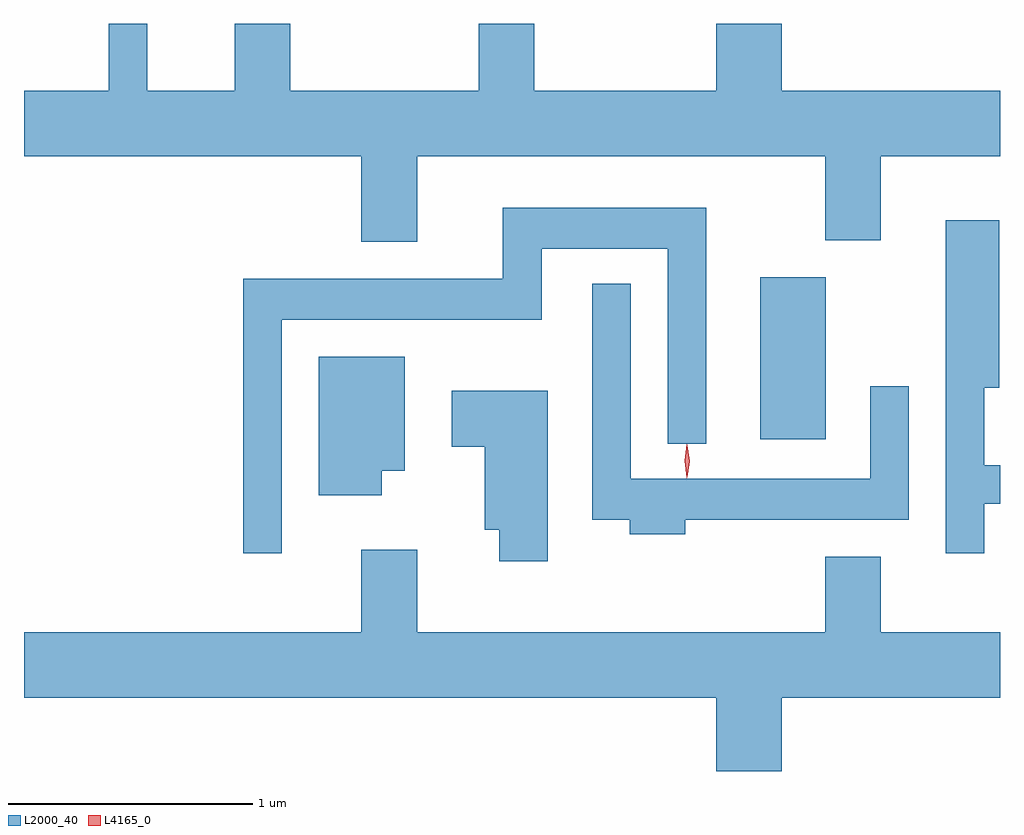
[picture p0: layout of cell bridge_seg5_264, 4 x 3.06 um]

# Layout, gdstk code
import gdstk
lib = gdstk.Library(unit=1e-6, precision=1e-09)
def R(c, l, rs):  # rectangles x0, y0, x1, y1
    for r in rs: c.add(gdstk.rectangle(r[:2], r[2:], *l))
def P(c, l, *ps):  # polygons
    for p in ps: c.add(gdstk.Polygon(p, *l))
L2000_40 = (2000, 40)
L4165_0 = (4165, 0)

bridge_seg5_264 = lib.new_cell('bridge_seg5_264')
R(bridge_seg5_264, L2000_40, [(674.796,1504.476,675.064,1505.139)])
P(bridge_seg5_264, L2000_40, [(672.869,1506.178),(672.641,1506.178),(672.641,1505.904),(672.284,1505.904),(672.284,1506.178),(672.126,1506.178),(672.126,1505.904),(671.778,1505.904),(671.778,1505.636),(673.161,1505.636),(673.161,1505.286),(673.389,1505.286),(673.389,1505.636),(675.061,1505.636),(675.061,1505.291),(675.289,1505.291),(675.289,1505.636),(675.778,1505.636),(675.778,1505.904),(674.884,1505.904),(674.884,1506.178),(674.616,1506.178),(674.616,1505.904),(673.869,1505.904),(673.869,1506.178),(673.641,1506.178),(673.641,1505.904),(672.869,1505.904)],
  [(672.834,1504.966),(673.899,1504.966),(673.899,1505.256),(674.416,1505.256),(674.416,1504.458),(674.574,1504.458),(674.574,1505.424),(673.741,1505.424),(673.741,1505.134),(672.676,1505.134),(672.676,1504.008),(672.834,1504.008)],
  [(675.714,1504.211),(675.778,1504.211),(675.778,1504.369),(675.714,1504.369),(675.714,1504.686),(675.774,1504.686),(675.774,1505.374),(675.556,1505.374),(675.556,1504.008),(675.714,1504.008)],
  [(674.489,1504.146),(675.404,1504.146),(675.404,1504.693),(675.246,1504.693),(675.246,1504.314),(674.264,1504.314),(674.264,1505.113),(674.106,1505.113),(674.106,1504.146),(674.261,1504.146),(674.261,1504.086),(674.489,1504.086)],
  [(673.244,1504.346),(673.339,1504.346),(673.339,1504.814),(672.986,1504.814),(672.986,1504.246),(673.244,1504.246)],
  [(673.924,1504.674),(673.531,1504.674),(673.531,1504.446),(673.666,1504.446),(673.666,1504.106),(673.726,1504.106),(673.726,1503.976),(673.924,1503.976)],
  [(674.884,1503.416),(675.778,1503.416),(675.778,1503.684),(675.289,1503.684),(675.289,1503.994),(675.061,1503.994),(675.061,1503.684),(673.389,1503.684),(673.389,1504.024),(673.161,1504.024),(673.161,1503.684),(671.778,1503.684),(671.778,1503.416),(674.616,1503.416),(674.616,1503.116),(674.884,1503.116)])
P(bridge_seg5_264, L4165_0, [(674.495,1504.32),(674.486,1504.386),(674.495,1504.452),(674.496,1504.453),(674.496,1504.452),(674.506,1504.386),(674.496,1504.32),(674.496,1504.32)],
  [(674.495,1504.317),(674.494,1504.318),(674.485,1504.387),(674.494,1504.456),(674.495,1504.456),(674.495,1504.456),(674.505,1504.387),(674.495,1504.318)])

lib.write_gds('bridge_seg5_264.gds')
